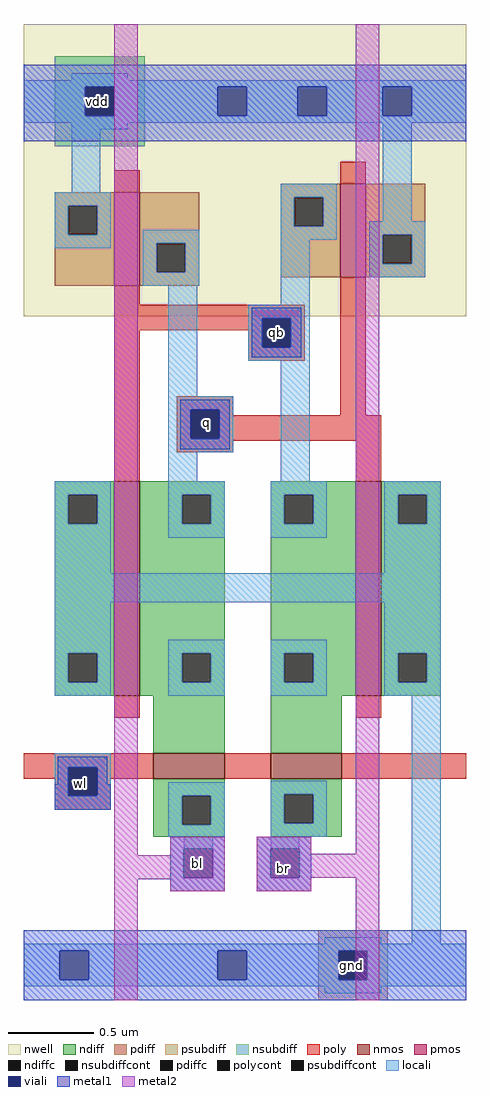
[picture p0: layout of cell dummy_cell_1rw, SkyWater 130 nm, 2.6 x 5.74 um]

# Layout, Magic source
magic
tech sky130A
<< nwell >>
rect 0 382 260 554
<< nmos >>
rect 53 159 68 285
rect 195 159 210 285
rect 76 110 118 125
rect 145 110 187 125
<< pmos >>
rect 53 400 68 455
rect 186 405 201 460
<< ndiff >>
rect 18 277 53 285
rect 18 260 26 277
rect 43 260 53 277
rect 18 184 53 260
rect 18 167 26 184
rect 43 167 53 184
rect 18 159 53 167
rect 68 277 118 285
rect 68 260 93 277
rect 110 260 118 277
rect 68 184 118 260
rect 68 167 93 184
rect 110 167 118 184
rect 68 159 118 167
rect 76 125 118 159
rect 145 277 195 285
rect 145 260 153 277
rect 170 260 195 277
rect 145 184 195 260
rect 145 167 153 184
rect 170 167 195 184
rect 145 159 195 167
rect 210 277 245 285
rect 210 260 220 277
rect 237 260 245 277
rect 210 184 245 260
rect 210 167 220 184
rect 237 167 245 184
rect 210 159 245 167
rect 145 125 187 159
rect 76 100 118 110
rect 76 83 93 100
rect 110 83 118 100
rect 76 76 118 83
rect 145 101 187 110
rect 145 84 153 101
rect 170 84 187 101
rect 145 76 187 84
<< pdiff >>
rect 18 447 53 455
rect 18 430 26 447
rect 43 430 53 447
rect 18 400 53 430
rect 68 425 103 455
rect 68 408 78 425
rect 95 408 103 425
rect 68 400 103 408
rect 151 452 186 460
rect 151 435 159 452
rect 176 435 186 452
rect 151 405 186 435
rect 201 430 236 460
rect 201 413 211 430
rect 228 413 236 430
rect 201 405 236 413
<< ndiffc >>
rect 26 260 43 277
rect 26 167 43 184
rect 93 260 110 277
rect 93 167 110 184
rect 153 260 170 277
rect 153 167 170 184
rect 220 260 237 277
rect 220 167 237 184
rect 93 83 110 100
rect 153 84 170 101
<< pdiffc >>
rect 26 430 43 447
rect 78 408 95 425
rect 159 435 176 452
rect 211 413 228 430
<< psubdiff >>
rect 173 9 214 21
rect 173 -8 185 9
rect 202 -8 214 9
rect 173 -20 214 -8
<< nsubdiff >>
rect 18 517 71 535
rect 18 500 36 517
rect 53 500 71 517
rect 18 482 71 500
<< psubdiffcont >>
rect 185 -8 202 9
<< nsubdiffcont >>
rect 36 500 53 517
<< poly >>
rect 53 455 68 468
rect 186 460 201 473
rect 53 389 68 400
rect 53 381 165 389
rect 53 374 140 381
rect 53 285 68 374
rect 132 364 140 374
rect 157 364 165 381
rect 132 356 165 364
rect 90 327 123 335
rect 90 310 98 327
rect 115 324 123 327
rect 186 324 201 405
rect 115 310 210 324
rect 90 309 210 310
rect 90 302 123 309
rect 195 285 210 309
rect 53 146 68 159
rect 195 146 210 159
rect 0 117 76 125
rect 0 110 26 117
rect 18 100 26 110
rect 43 110 76 117
rect 118 110 145 125
rect 187 110 260 125
rect 43 100 51 110
rect 18 92 51 100
<< polycont >>
rect 140 364 157 381
rect 98 310 115 327
rect 26 100 43 117
<< locali >>
rect 28 521 61 525
rect 0 517 260 521
rect 0 500 36 517
rect 53 500 114 517
rect 131 500 161 517
rect 178 500 211 517
rect 228 500 260 517
rect 0 496 260 500
rect 28 492 61 496
rect 28 455 45 492
rect 18 447 51 455
rect 18 430 26 447
rect 43 430 51 447
rect 151 452 184 460
rect 151 435 159 452
rect 176 435 184 452
rect 211 438 228 496
rect 18 422 51 430
rect 70 425 103 433
rect 70 408 78 425
rect 95 408 103 425
rect 70 400 103 408
rect 151 427 184 435
rect 203 430 236 438
rect 85 335 102 400
rect 151 389 168 427
rect 203 413 211 430
rect 228 413 236 430
rect 203 405 236 413
rect 132 381 168 389
rect 132 364 140 381
rect 157 364 168 381
rect 132 356 168 364
rect 85 327 123 335
rect 85 310 98 327
rect 115 310 123 327
rect 85 302 123 310
rect 85 285 102 302
rect 151 285 168 356
rect 18 277 51 285
rect 18 260 26 277
rect 43 260 51 277
rect 18 231 51 260
rect 85 277 118 285
rect 85 260 93 277
rect 110 260 118 277
rect 85 252 118 260
rect 145 277 178 285
rect 145 260 153 277
rect 170 260 178 277
rect 145 252 178 260
rect 212 277 245 285
rect 212 260 220 277
rect 237 260 245 277
rect 212 231 245 260
rect 18 214 245 231
rect 18 184 51 214
rect 18 167 26 184
rect 43 167 51 184
rect 18 159 51 167
rect 85 184 118 192
rect 85 167 93 184
rect 110 167 118 184
rect 85 159 118 167
rect 145 184 178 192
rect 145 167 153 184
rect 170 167 178 184
rect 145 159 178 167
rect 212 184 245 214
rect 212 167 220 184
rect 237 167 245 184
rect 212 159 245 167
rect 18 117 51 125
rect 18 100 26 117
rect 43 100 51 117
rect 18 92 51 100
rect 85 100 118 108
rect 85 83 93 100
rect 110 83 118 100
rect 85 76 118 83
rect 145 101 178 109
rect 145 84 153 101
rect 170 84 178 101
rect 145 76 178 84
rect 94 69 111 76
rect 145 69 162 76
rect 177 13 210 17
rect 228 13 245 159
rect 0 9 260 13
rect 0 -8 21 9
rect 38 -8 114 9
rect 131 -8 185 9
rect 202 -8 260 9
rect 0 -12 260 -8
rect 177 -16 210 -12
<< viali >>
rect 36 500 53 517
rect 114 500 131 517
rect 161 500 178 517
rect 211 500 228 517
rect 140 364 157 381
rect 98 310 115 327
rect 26 100 43 117
rect 94 52 111 69
rect 145 52 162 69
rect 21 -8 38 9
rect 114 -8 131 9
rect 185 -8 202 9
<< metal1 >>
rect 0 517 260 530
rect 0 500 36 517
rect 53 500 114 517
rect 131 500 161 517
rect 178 500 211 517
rect 228 500 260 517
rect 0 485 260 500
rect 134 381 163 387
rect 134 364 140 381
rect 157 364 163 381
rect 134 358 163 364
rect 92 327 121 333
rect 92 310 98 327
rect 115 310 121 327
rect 92 304 121 310
rect 20 117 49 123
rect 20 107 26 117
rect 18 100 26 107
rect 43 107 49 117
rect 43 100 51 107
rect 18 92 51 100
rect 86 69 118 76
rect 86 52 94 69
rect 111 52 118 69
rect 86 44 118 52
rect 137 69 169 76
rect 137 52 145 69
rect 162 52 169 69
rect 137 44 169 52
rect 0 9 260 21
rect 0 -8 21 9
rect 38 -8 114 9
rect 131 -8 185 9
rect 202 -8 260 9
rect 0 -20 260 -8
<< metal2 >>
rect 53 65 67 554
rect 86 65 118 76
rect 53 51 118 65
rect 53 -20 67 51
rect 86 44 118 51
rect 137 66 169 76
rect 195 66 209 554
rect 137 52 209 66
rect 137 44 169 52
rect 195 -20 209 52
<< labels >>
flabel metal1 s 38 503 49 514 0 FreeSans 200 0 0 0 vdd
port 1 nsew
flabel locali s 143 367 154 378 0 FreeSans 200 0 0 0 qb
port 10 nsew
flabel metal2 s 147 52 158 63 0 FreeSans 200 0 0 0 br
port 16 nsew
flabel metal2 s 89 47 115 73 0 FreeSans 200 0 0 0 bl
port 17 nsew
flabel metal1 s 28 102 39 113 0 FreeSans 200 0 0 0 wl
port 5 nsew
flabel metal1 s 187 -5 198 6 0 FreeSans 200 0 0 0 gnd
port 3 nsew
flabel locali s 102 314 113 325 0 FreeSans 200 0 0 0 q
port 8 nsew
<< properties >>
string FIXED_BBOX 0 0 260 509
<< end >>
